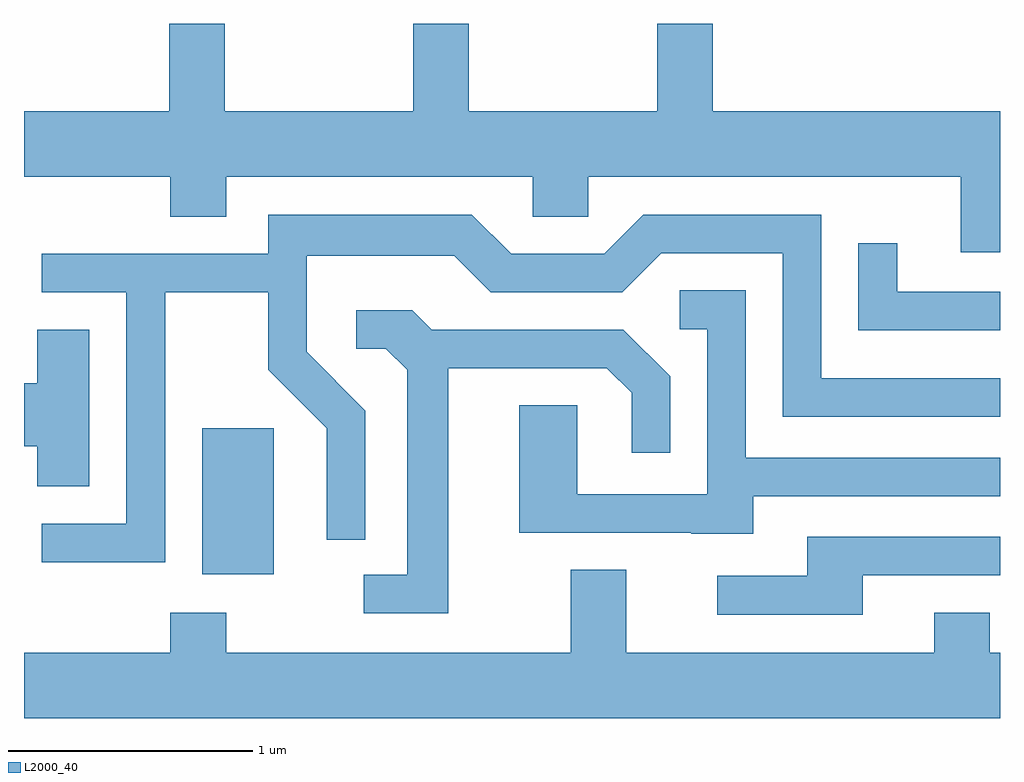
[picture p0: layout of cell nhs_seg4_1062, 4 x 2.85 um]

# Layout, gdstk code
import gdstk
lib = gdstk.Library(unit=1e-6, precision=1e-09)
def R(c, l, rs):  # rectangles x0, y0, x1, y1
    for r in rs: c.add(gdstk.rectangle(r[:2], r[2:], *l))
def P(c, l, *ps):  # polygons
    for p in ps: c.add(gdstk.Polygon(p, *l))
L2000_40 = (2000, 40)

nhs_seg4_1062 = lib.new_cell('nhs_seg4_1062')
R(nhs_seg4_1062, L2000_40, [(216.341,1339.726,216.634,1340.324)])
P(nhs_seg4_1062, L2000_40, [(219.611,1341.624),(218.434,1341.624),(218.434,1341.982),(218.206,1341.982),(218.206,1341.624),(217.434,1341.624),(217.434,1341.982),(217.206,1341.982),(217.206,1341.624),(216.434,1341.624),(216.434,1341.982),(216.206,1341.982),(216.206,1341.624),(215.611,1341.624),(215.611,1341.356),(216.211,1341.356),(216.211,1341.191),(216.439,1341.191),(216.439,1341.356),(217.696,1341.356),(217.696,1341.191),(217.924,1341.191),(217.924,1341.356),(219.451,1341.356),(219.451,1341.046),(219.611,1341.046)],
  [(216.189,1340.881),(216.611,1340.881),(216.611,1340.564),(216.851,1340.324),(216.851,1339.868),(217.009,1339.868),(217.009,1340.397),(216.769,1340.637),(216.769,1341.031),(217.374,1341.031),(217.524,1340.881),(218.062,1340.881),(218.222,1341.041),(218.721,1341.041),(218.721,1340.371),(219.611,1340.371),(219.611,1340.529),(218.879,1340.529),(218.879,1341.199),(218.149,1341.199),(217.989,1341.039),(217.607,1341.039),(217.447,1341.199),(216.611,1341.199),(216.611,1341.039),(215.683,1341.039),(215.683,1340.881),(216.031,1340.881),(216.031,1339.934),(215.683,1339.934),(215.683,1339.776),(216.189,1339.776)],
  [(219.611,1340.884),(219.189,1340.884),(219.189,1341.083),(219.031,1341.083),(219.031,1340.726),(219.611,1340.726)],
  [(218.599,1340.046),(219.611,1340.046),(219.611,1340.204),(218.569,1340.204),(218.569,1340.889),(218.298,1340.889),(218.298,1340.731),(218.411,1340.731),(218.411,1340.054),(217.879,1340.054),(217.879,1340.419),(217.641,1340.419),(217.641,1339.896),(218.345,1339.896),(218.345,1339.891),(218.599,1339.891)],
  [(217.349,1340.571),(217.999,1340.571),(218.101,1340.469),(218.101,1340.223),(218.259,1340.223),(218.259,1340.537),(218.067,1340.729),(217.282,1340.729),(217.202,1340.809),(216.973,1340.809),(216.973,1340.651),(217.094,1340.651),(217.181,1340.564),(217.181,1339.724),(217.003,1339.724),(217.003,1339.566),(217.349,1339.566)],
  [(215.879,1340.729),(215.666,1340.729),(215.666,1340.509),(215.611,1340.509),(215.611,1340.251),(215.666,1340.251),(215.666,1340.086),(215.879,1340.086)],
  [(219.049,1339.721),(219.611,1339.721),(219.611,1339.879),(218.821,1339.879),(218.821,1339.719),(218.453,1339.719),(218.453,1339.561),(219.049,1339.561)],
  [(219.611,1339.404),(219.569,1339.404),(219.569,1339.569),(219.341,1339.569),(219.341,1339.404),(218.079,1339.404),(218.079,1339.744),(217.851,1339.744),(217.851,1339.404),(216.439,1339.404),(216.439,1339.569),(216.211,1339.569),(216.211,1339.404),(215.611,1339.404),(215.611,1339.136),(219.611,1339.136)])

lib.write_gds('nhs_seg4_1062.gds')
